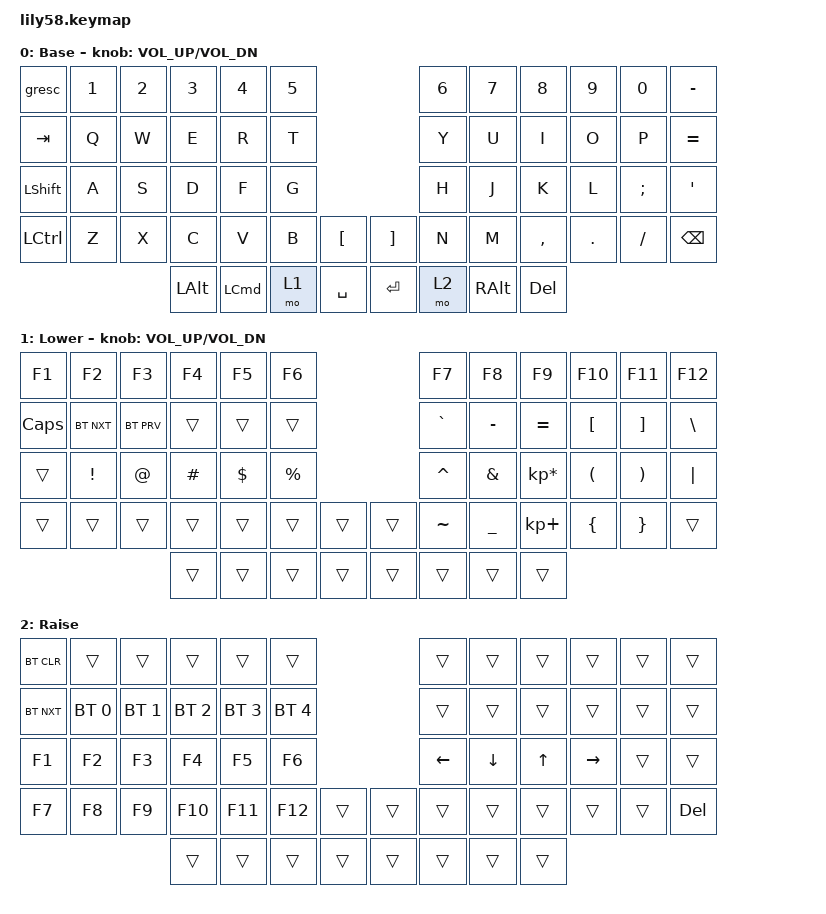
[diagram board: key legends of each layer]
/*
 * Copyright (c) 2020 The ZMK Contributors
 *
 * SPDX-License-Identifier: MIT
 */

#include <behaviors.dtsi>
#include <dt-bindings/zmk/bt.h>
#include <dt-bindings/zmk/keys.h>

&gresc { keep-mods = <(MOD_LGUI|MOD_RGUI)>; };

/ {
    keymap {
        compatible = "zmk,keymap";

        default_layer {
            // ------------------------------------------------------------------------------------------------------------
            // |  ESC  |  1  |  2  |  3   |  4   |  5   |                   |  6   |  7    |  8    |  9   |   0   |   `   |
            // |  TAB  |  Q  |  W  |  E   |  R   |  T   |                   |  Y   |  U    |  I    |  O   |   P   |   -   |
            // |  CTRL |  A  |  S  |  D   |  F   |  G   |                   |  H   |  J    |  K    |  L   |   ;   |   '   |
            // | SHIFT |  Z  |  X  |  C   |  V   |  B   |   "["  |  |  "]"  |  N   |  M    |  ,    |  .   |   /   | SHIFT |
            //                     | ALT  | GUI  | LOWER|  SPACE |  | ENTER | RAISE| BSPC  | GUI   |

            display-name = "Base";
            bindings = <
&gresc          &kp N1  &kp N2  &kp N3    &kp N4            &kp N5                          &kp N6  &kp N7         &kp N8     &kp N9   &kp N0    &kp MINUS
&kp TAB         &kp Q   &kp W   &kp E     &kp R             &kp T                           &kp Y   &kp U          &kp I      &kp O    &kp P     &kp EQUAL
&kp LEFT_SHIFT  &kp A   &kp S   &kp D     &kp F             &kp G                           &kp H   &kp J          &kp K      &kp L    &kp SEMI  &kp SQT
&kp LCTRL       &kp Z   &kp X   &kp C     &kp V             &kp B   &kp LBKT     &kp RBKT   &kp N   &kp M          &kp COMMA  &kp DOT  &kp FSLH  &kp BACKSPACE
                                &kp LALT  &kp LEFT_COMMAND  &mo 1   &kp SPACE    &kp ENTER  &mo 2   &kp RIGHT_ALT  &kp DEL
            >;

            sensor-bindings = <&inc_dec_kp C_VOL_UP C_VOL_DN>;
        };

        lower_layer {
            // ------------------------------------------------------------------------------------------------------------
            // | BTCLR | BT1 | BT2 |  BT3 |  BT4 |  BT5 |                   |      |       |       |      |       |       |
            // |  F1   |  F2 |  F3 |  F4  |  F5  |  F6  |                   |  F7  |  F8   |  F9   |  F10 |  F11  |  F12  |
            // |   `   |  !  |  @  |  #   |  $   |  %   |                   |  ^   |  &    |  *    |  (   |   )   |   ~   |
            // |       |     |     |      |      |      |        |  |       |      |  _    |  +    |  {   |   }   |  "|"  |
            //                     |      |      |      |        |  |       |      |       |       |

            display-name = "Lower";
            bindings = <
&kp F1    &kp F2      &kp F3      &kp F4     &kp F5      &kp F6                       &kp F7     &kp F8     &kp F9           &kp F10           &kp F11            &kp F12
&kp CAPS  &bt BT_NXT  &bt BT_PRV  &trans     &trans      &trans                       &kp GRAVE  &kp MINUS  &kp EQUAL        &kp LEFT_BRACKET  &kp RIGHT_BRACKET  &kp BACKSLASH
&trans    &kp EXCL    &kp AT      &kp POUND  &kp DOLLAR  &kp PRCNT                    &kp CARET  &kp AMPS   &kp KP_MULTIPLY  &kp LPAR          &kp RPAR           &kp PIPE
&trans    &trans      &trans      &trans     &trans      &trans     &trans    &trans  &kp TILDE  &kp UNDER  &kp KP_PLUS      &kp LBRC          &kp RBRC           &trans
                                  &trans     &trans      &trans     &trans    &trans  &trans     &trans     &trans
            >;

            sensor-bindings = <&inc_dec_kp C_VOL_UP C_VOL_DN>;
        };

        raise_layer {
            // ------------------------------------------------------------------------------------------------------------
            // |       |     |     |      |      |      |                   |      |       |       |      |       |       |
            // |   `   |  1  |  2  |  3   |  4   |  5   |                   |  6   |   7   |   8   |  9   |   0   |       |
            // |   F1  |  F2 |  F3 |  F4  |  F5  |  F6  |                   |      |   <-  |   v   |  ^   |  ->   |       |
            // |   F7  |  F8 |  F9 |  F10 |  F11 |  F12 |        |  |       |  +   |   -   |   =   |  [   |   ]   |   \   |
            //                     |      |      |      |        |  |       |      |       |       |

            display-name = "Raise";
            bindings = <
&bt BT_CLR  &trans        &trans        &trans        &trans        &trans                          &trans    &trans    &trans  &trans     &trans  &trans
&bt BT_NXT  &bt BT_SEL 0  &bt BT_SEL 1  &bt BT_SEL 2  &bt BT_SEL 3  &bt BT_SEL 4                    &trans    &trans    &trans  &trans     &trans  &trans
&kp F1      &kp F2        &kp F3        &kp F4        &kp F5        &kp F6                          &kp LEFT  &kp DOWN  &kp UP  &kp RIGHT  &trans  &trans
&kp F7      &kp F8        &kp F9        &kp F10       &kp F11       &kp F12       &trans    &trans  &trans    &trans    &trans  &trans     &trans  &kp DELETE
                                        &trans        &trans        &trans        &trans    &trans  &trans    &trans    &trans
            >;
        };
    };
};
